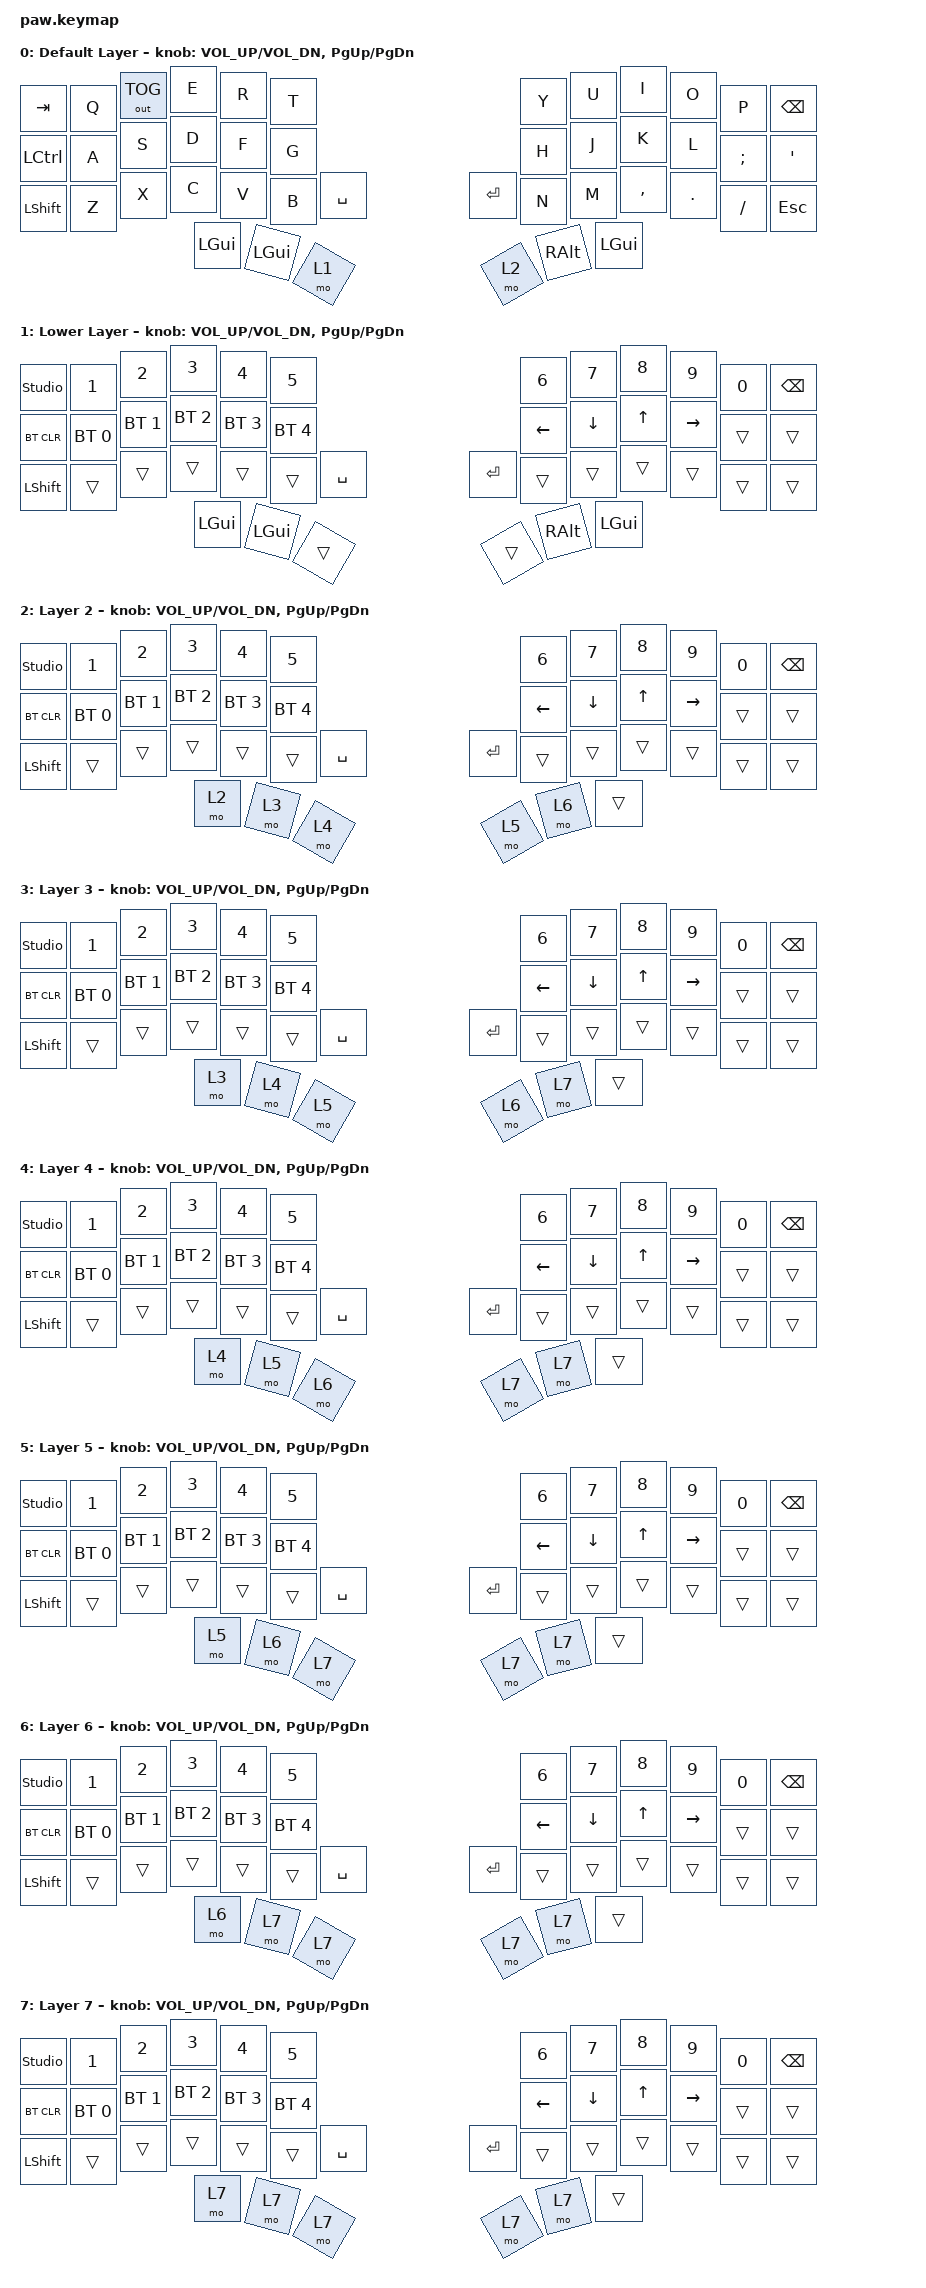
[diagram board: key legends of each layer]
/*

 * Copyright (c) 2020 The ZMK Contributors

 *

 * SPDX-License-Identifier: MIT

 */



#include <behaviors.dtsi>

#include <dt-bindings/zmk/bt.h>

#include <dt-bindings/zmk/keys.h>

#include <dt-bindings/zmk/pointing.h>

#include <dt-bindings/zmk/outputs.h>



/ {

    keymap {

        compatible = "zmk,keymap";



        default_layer {

            display-name = "Default Layer";



            bindings = <

&kp TAB    &kp Q  &out OUT_TOG     &kp E     &kp R  &kp T          &kp Y    &kp U  &kp I      &kp O     &kp P     &kp BSPC

&kp LCTRL  &kp A  &kp S     &kp D     &kp F  &kp G          &kp H    &kp J  &kp K      &kp L     &kp SEMI  &kp SQT

&kp LSHFT  &kp Z  &kp X     &kp C     &kp V  &kp B          &kp N    &kp M  &kp COMMA  &kp DOT   &kp FSLH  &kp ESC

                  &kp LGUI  &kp LGUI  &mo 1  &kp SPACE      &kp RET  &mo 2  &kp RALT   &kp LGUI

            >;



            sensor-bindings =

                <&inc_dec_kp C_VOL_UP C_VOL_DN>,

                <&inc_dec_kp PG_UP PG_DN>;

        };



        lower_layer {

            display-name = "Lower Layer";



            bindings = <

&studio_unlock  &kp N1        &kp N2        &kp N3        &kp N4        &kp N5            &kp N6    &kp N7    &kp N8    &kp N9     &kp N0  &kp BSPC

&bt BT_CLR  &bt BT_SEL 0  &bt BT_SEL 1  &bt BT_SEL 2  &bt BT_SEL 3  &bt BT_SEL 4      &kp LEFT  &kp DOWN  &kp UP    &kp RIGHT  &trans  &trans

&kp LSHFT   &trans        &trans        &trans        &trans        &trans            &trans    &trans    &trans    &trans     &trans  &trans

                          &kp LGUI      &kp LGUI      &trans        &kp SPACE         &kp RET   &trans    &kp RALT  &kp LGUI

            >;

            sensor-bindings =
                <&inc_dec_kp C_VOL_UP C_VOL_DN>,
                <&inc_dec_kp PG_UP PG_DN>;
        };

    

        layer_2 {
            display-name = "Layer 2";

            bindings = <
            &studio_unlock  &kp N1        &kp N2        &kp N3        &kp N4        &kp N5            &kp N6    &kp N7    &kp N8    &kp N9     &kp N0  &kp BSPC
            &bt BT_CLR  &bt BT_SEL 0  &bt BT_SEL 1  &bt BT_SEL 2  &bt BT_SEL 3  &bt BT_SEL 4      &kp LEFT  &kp DOWN  &kp UP    &kp RIGHT  &trans  &trans
            &kp LSHFT   &trans        &trans        &trans        &trans        &trans            &trans    &trans    &trans    &trans     &trans  &trans
            &mo 2 &mo 3 &mo 4 &kp SPACE &kp RET &mo 5 &mo 6 &trans
            >;

            sensor-bindings =
                <&inc_dec_kp C_VOL_UP C_VOL_DN>,
                <&inc_dec_kp PG_UP PG_DN>;
        };

        layer_3 {
            display-name = "Layer 3";

            bindings = <
            &studio_unlock  &kp N1        &kp N2        &kp N3        &kp N4        &kp N5            &kp N6    &kp N7    &kp N8    &kp N9     &kp N0  &kp BSPC
            &bt BT_CLR  &bt BT_SEL 0  &bt BT_SEL 1  &bt BT_SEL 2  &bt BT_SEL 3  &bt BT_SEL 4      &kp LEFT  &kp DOWN  &kp UP    &kp RIGHT  &trans  &trans
            &kp LSHFT   &trans        &trans        &trans        &trans        &trans            &trans    &trans    &trans    &trans     &trans  &trans
            &mo 3 &mo 4 &mo 5 &kp SPACE &kp RET &mo 6 &mo 7 &trans
            >;

            sensor-bindings =
                <&inc_dec_kp C_VOL_UP C_VOL_DN>,
                <&inc_dec_kp PG_UP PG_DN>;
        };

        layer_4 {
            display-name = "Layer 4";

            bindings = <
            &studio_unlock  &kp N1        &kp N2        &kp N3        &kp N4        &kp N5            &kp N6    &kp N7    &kp N8    &kp N9     &kp N0  &kp BSPC
            &bt BT_CLR  &bt BT_SEL 0  &bt BT_SEL 1  &bt BT_SEL 2  &bt BT_SEL 3  &bt BT_SEL 4      &kp LEFT  &kp DOWN  &kp UP    &kp RIGHT  &trans  &trans
            &kp LSHFT   &trans        &trans        &trans        &trans        &trans            &trans    &trans    &trans    &trans     &trans  &trans
            &mo 4 &mo 5 &mo 6 &kp SPACE &kp RET &mo 7 &mo 7 &trans
            >;

            sensor-bindings =
                <&inc_dec_kp C_VOL_UP C_VOL_DN>,
                <&inc_dec_kp PG_UP PG_DN>;
        };

        layer_5 {
            display-name = "Layer 5";

            bindings = <
            &studio_unlock  &kp N1        &kp N2        &kp N3        &kp N4        &kp N5            &kp N6    &kp N7    &kp N8    &kp N9     &kp N0  &kp BSPC
            &bt BT_CLR  &bt BT_SEL 0  &bt BT_SEL 1  &bt BT_SEL 2  &bt BT_SEL 3  &bt BT_SEL 4      &kp LEFT  &kp DOWN  &kp UP    &kp RIGHT  &trans  &trans
            &kp LSHFT   &trans        &trans        &trans        &trans        &trans            &trans    &trans    &trans    &trans     &trans  &trans
            &mo 5 &mo 6 &mo 7 &kp SPACE &kp RET &mo 7 &mo 7 &trans
            >;

            sensor-bindings =
                <&inc_dec_kp C_VOL_UP C_VOL_DN>,
                <&inc_dec_kp PG_UP PG_DN>;
        };

        layer_6 {
            display-name = "Layer 6";

            bindings = <
            &studio_unlock  &kp N1        &kp N2        &kp N3        &kp N4        &kp N5            &kp N6    &kp N7    &kp N8    &kp N9     &kp N0  &kp BSPC
            &bt BT_CLR  &bt BT_SEL 0  &bt BT_SEL 1  &bt BT_SEL 2  &bt BT_SEL 3  &bt BT_SEL 4      &kp LEFT  &kp DOWN  &kp UP    &kp RIGHT  &trans  &trans
            &kp LSHFT   &trans        &trans        &trans        &trans        &trans            &trans    &trans    &trans    &trans     &trans  &trans
            &mo 6 &mo 7 &mo 7 &kp SPACE &kp RET &mo 7 &mo 7 &trans
            >;

            sensor-bindings =
                <&inc_dec_kp C_VOL_UP C_VOL_DN>,
                <&inc_dec_kp PG_UP PG_DN>;
        };

        layer_7 {
            display-name = "Layer 7";

            bindings = <
            &studio_unlock  &kp N1        &kp N2        &kp N3        &kp N4        &kp N5            &kp N6    &kp N7    &kp N8    &kp N9     &kp N0  &kp BSPC
            &bt BT_CLR  &bt BT_SEL 0  &bt BT_SEL 1  &bt BT_SEL 2  &bt BT_SEL 3  &bt BT_SEL 4      &kp LEFT  &kp DOWN  &kp UP    &kp RIGHT  &trans  &trans
            &kp LSHFT   &trans        &trans        &trans        &trans        &trans            &trans    &trans    &trans    &trans     &trans  &trans
            &mo 7 &mo 7 &mo 7 &kp SPACE &kp RET &mo 7 &mo 7 &trans
            >;

            sensor-bindings =
                <&inc_dec_kp C_VOL_UP C_VOL_DN>,
                <&inc_dec_kp PG_UP PG_DN>;
        };
};

};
